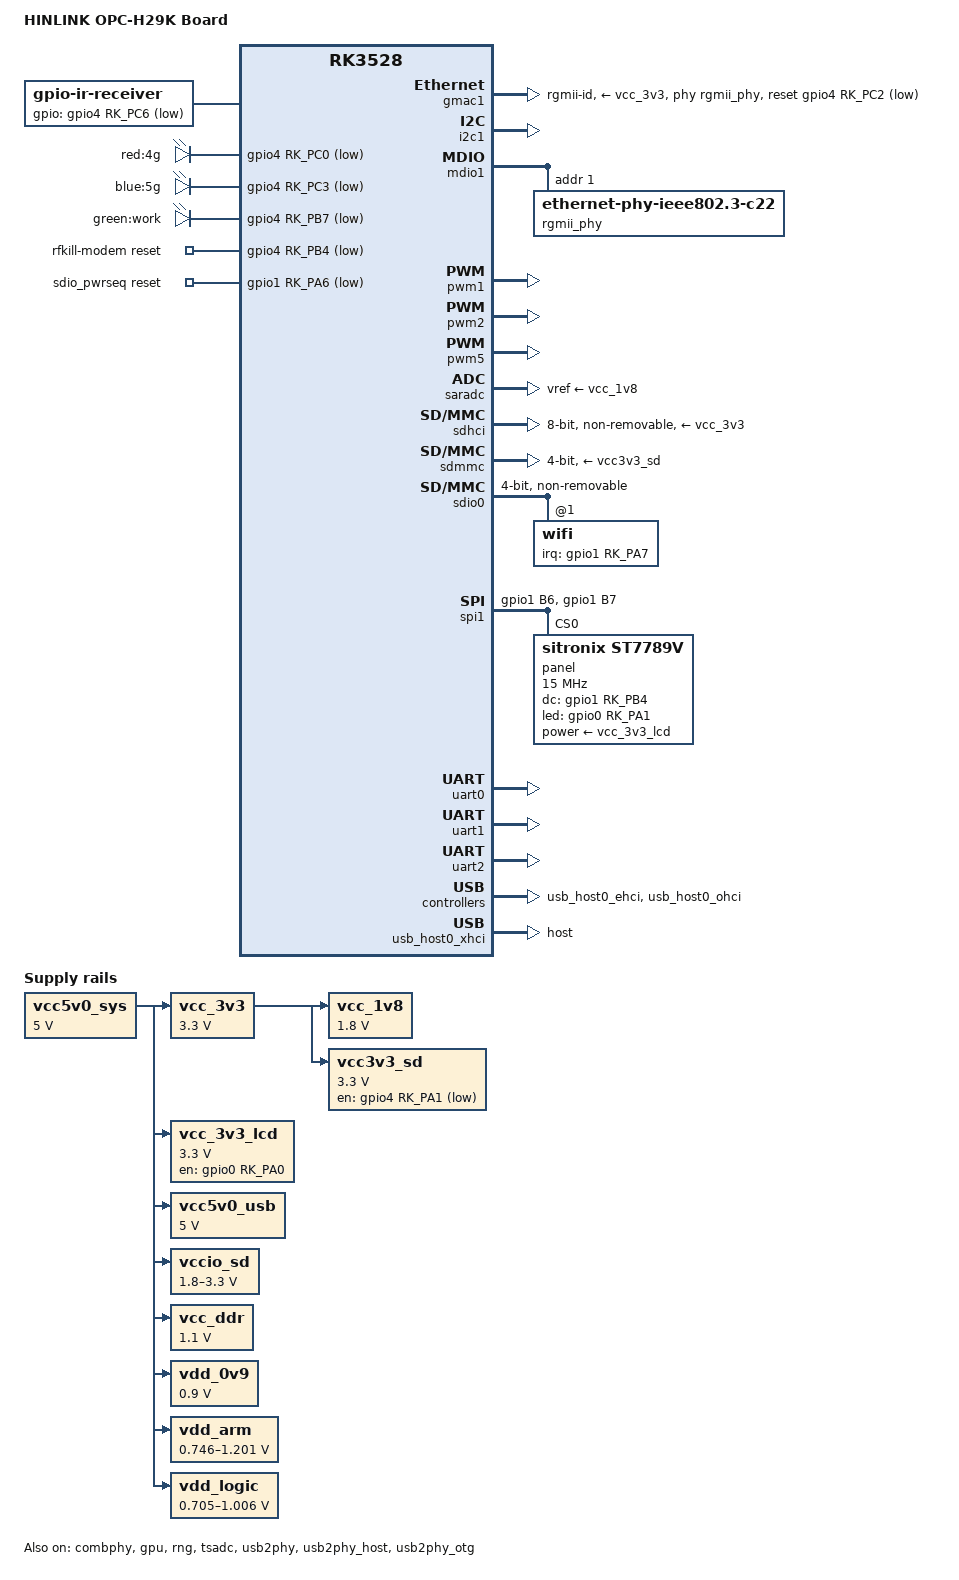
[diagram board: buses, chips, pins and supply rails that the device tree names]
// SPDX-License-Identifier: (GPL-2.0+ OR MIT)

/dts-v1/;
#include <dt-bindings/gpio/gpio.h>
#include <dt-bindings/pinctrl/rockchip.h>

#include "rk3528.dtsi"

/ {
	model = "HINLINK OPC-H29K Board";
	compatible = "hinlink,opc-h29k", "rockchip,rk3528";

	aliases {
		mmc0 = &sdhci;
		mmc1 = &sdmmc;
		mmc2 = &sdio0;
		serial0 = &uart0;
		serial1 = &uart1;
		serial2 = &uart2;
		ethernet0 = &gmac1;

		led-boot = &led_work;
		led-failsafe = &led_work;
		led-running = &led_work;
		led-upgrade = &led_work;
	};

	chosen {
		stdout-path = "serial0:1500000n8";
	};

	ir-receiver {
		compatible = "gpio-ir-receiver";
		gpios = <&gpio4 RK_PC6 GPIO_ACTIVE_LOW>;
		pinctrl-names = "default";
		pinctrl-0 = <&ir_int_pin>;
	};

	leds {
		compatible = "gpio-leds";
		pinctrl-names = "default";
		pinctrl-0 = <&led_4g_en>, <&led_5g_en>, <&led_work_en>;

		4g {
			label = "red:4g";
			gpios = <&gpio4 RK_PC0 GPIO_ACTIVE_LOW>;
		};

		5g {
			label = "blue:5g";
			gpios = <&gpio4 RK_PC3 GPIO_ACTIVE_LOW>;
		};

		led_work: work {
			label = "green:work";
			gpios = <&gpio4 RK_PB7 GPIO_ACTIVE_LOW>;
		};
	};

	rfkill-modem {
		compatible = "rfkill-gpio";
		label = "rfkill-modem";
		radio-type = "wwan";
		reset-gpios = <&gpio4 RK_PB4 GPIO_ACTIVE_LOW>;
	};

	sdio_pwrseq: sdio-pwrseq {
		compatible = "mmc-pwrseq-simple";
		pinctrl-names = "default";
		pinctrl-0 = <&wifi_reg_on>;
		post-power-on-delay-ms = <100>;
		power-off-delay-us = <5000000>;
		reset-gpios = <&gpio1 RK_PA6 GPIO_ACTIVE_LOW>;
	};

	vcc5v0_sys: vcc5v0-sys {
		compatible = "regulator-fixed";
		regulator-name = "vcc5v0_sys";
		regulator-always-on;
		regulator-boot-on;
		regulator-min-microvolt = <5000000>;
		regulator-max-microvolt = <5000000>;
	};

	vcc_3v3: vcc-3v3 {
		compatible = "regulator-fixed";
		regulator-name = "vcc_3v3";
		regulator-always-on;
		regulator-boot-on;
		regulator-min-microvolt = <3300000>;
		regulator-max-microvolt = <3300000>;
		vin-supply = <&vcc5v0_sys>;
	};

	vcc_1v8: vcc-1v8 {
		compatible = "regulator-fixed";
		regulator-name = "vcc_1v8";
		regulator-always-on;
		regulator-boot-on;
		regulator-min-microvolt = <1800000>;
		regulator-max-microvolt = <1800000>;
		vin-supply = <&vcc_3v3>;
	};

	vcc_3v3_lcd: vcc-3v3-lcd {
		compatible = "regulator-fixed";
		enable-active-high;
		gpio = <&gpio0 RK_PA0 GPIO_ACTIVE_HIGH>;
		regulator-name = "vcc_3v3_lcd";
		regulator-min-microvolt = <3300000>;
		regulator-max-microvolt = <3300000>;
		regulator-always-on;
		vin-supply = <&vcc5v0_sys>;
	};

	vcc3v3_sd: vcc3v3-sd {
		compatible = "regulator-fixed";
		gpios = <&gpio4 RK_PA1 GPIO_ACTIVE_LOW>;
		pinctrl-names = "default";
		pinctrl-0 = <&sdmmc_pwren_l>;
		regulator-name = "vcc3v3_sd";
		regulator-min-microvolt = <3300000>;
		regulator-max-microvolt = <3300000>;
		vin-supply = <&vcc_3v3>;
	};

	vcc5v0_usb: vcc5v0-usb {
		compatible = "regulator-fixed";
		regulator-name = "vcc5v0_usb";
		regulator-always-on;
		regulator-boot-on;
		regulator-min-microvolt = <5000000>;
		regulator-max-microvolt = <5000000>;
		vin-supply = <&vcc5v0_sys>;
	};

	vccio_sd: vccio-sd {
		compatible = "regulator-gpio";
		gpios = <&gpio4 RK_PB6 GPIO_ACTIVE_HIGH>;
		pinctrl-names = "default";
		pinctrl-0 = <&sdmmc_vol_ctrl_h>;
		regulator-name = "vccio_sd";
		regulator-min-microvolt = <1800000>;
		regulator-max-microvolt = <3300000>;
		states = <1800000 0x0>, <3300000 0x1>;
		vin-supply = <&vcc5v0_sys>;
	};

	vcc_ddr: vcc-ddr {
		compatible = "regulator-fixed";
		regulator-name = "vcc_ddr";
		regulator-always-on;
		regulator-boot-on;
		regulator-min-microvolt = <1100000>;
		regulator-max-microvolt = <1100000>;
		vin-supply = <&vcc5v0_sys>;
	};

	vdd_0v9: vdd-0v9 {
		compatible = "regulator-fixed";
		regulator-name = "vdd_0v9";
		regulator-always-on;
		regulator-boot-on;
		regulator-min-microvolt = <900000>;
		regulator-max-microvolt = <900000>;
		vin-supply = <&vcc5v0_sys>;
	};

	vdd_arm: vdd-arm {
		compatible = "pwm-regulator";
		pwms = <&pwm1 0 5000 1>;
		pwm-supply = <&vcc5v0_sys>;
		regulator-name = "vdd_arm";
		regulator-always-on;
		regulator-boot-on;
		regulator-min-microvolt = <746000>;
		regulator-max-microvolt = <1201000>;
		regulator-settling-time-up-us = <250>;
	};

	vdd_logic: vdd-logic {
		compatible = "pwm-regulator";
		pwms = <&pwm2 0 5000 1>;
		pwm-supply = <&vcc5v0_sys>;
		regulator-name = "vdd_logic";
		regulator-always-on;
		regulator-boot-on;
		regulator-min-microvolt = <705000>;
		regulator-max-microvolt = <1006000>;
		regulator-settling-time-up-us = <250>;
	};
};

&combphy {
	status = "okay";
};

&cpu0 {
	cpu-supply = <&vdd_arm>;
};

&cpu1 {
	cpu-supply = <&vdd_arm>;
};

&cpu2 {
	cpu-supply = <&vdd_arm>;
};

&cpu3 {
	cpu-supply = <&vdd_arm>;
};

&gmac1 {
	clock_in_out = "output";
	phy-handle = <&rgmii_phy>;
	phy-mode = "rgmii-id";
	phy-supply = <&vcc_3v3>;
	pinctrl-names = "default";
	pinctrl-0 = <&rgmii_miim
		     &rgmii_tx_bus2
		     &rgmii_rx_bus2
		     &rgmii_rgmii_clk
		     &rgmii_rgmii_bus>;
	snps,reset-active-low;
	snps,reset-delays-us = <0 20000 100000>;
	snps,reset-gpio = <&gpio4 RK_PC2 GPIO_ACTIVE_LOW>;
	status = "okay";
};

&gpu {
	mali-supply = <&vdd_logic>;
	status = "okay";
};

&i2c1 {
	status = "okay";
};

&mdio1 {
	rgmii_phy: phy@1 {
		compatible = "ethernet-phy-ieee802.3-c22";
		reg = <0x1>;
	};
};

&pinctrl {
	ir {
		ir_int_pin: ir-int-pin {
			rockchip,pins = <4 RK_PC6 RK_FUNC_GPIO &pcfg_pull_up>;
		};
	};

	leds {
		led_4g_en: led-4g-en {
			rockchip,pins = <4 RK_PC0 RK_FUNC_GPIO &pcfg_pull_none>;
		};

		led_5g_en: led-5g-en {
			rockchip,pins = <4 RK_PC3 RK_FUNC_GPIO &pcfg_pull_none>;
		};

		led_work_en: led-work-en {
			rockchip,pins = <4 RK_PB7 RK_FUNC_GPIO &pcfg_pull_none>;
		};
	};

	mmc {
		sdmmc_pwren_l: sdmmc-pwren-l {
			rockchip,pins = <4 RK_PA1 RK_FUNC_GPIO &pcfg_pull_none>;
		};

		sdmmc_vol_ctrl_h: sdmmc-vol-ctrl-h {
			rockchip,pins = <4 RK_PB6 RK_FUNC_GPIO &pcfg_pull_none>;
		};
	};

	spi1 {
		spi1_pins: spi1-pins {
			rockchip,pins =
				<1 RK_PB6 2 &pcfg_pull_none_drv_level_2>,
				<1 RK_PB7 2 &pcfg_pull_none_drv_level_2>;
		};

		lcd_rs_pin: lcd-rs-pin {
			rockchip,pins = <1 RK_PB4 RK_FUNC_GPIO &pcfg_pull_up>;
		};
	};

	wifi {
		wifi_reg_on: wifi-reg-on {
			rockchip,pins = <1 RK_PA6 RK_FUNC_GPIO &pcfg_pull_none>;
		};

		wl_wake_host: wl-wake-host {
			rockchip,pins = <1 RK_PA7 RK_FUNC_GPIO &pcfg_pull_down>;
		};
	};
};

&pwm1 {
	pinctrl-names = "default";
	pinctrl-0 = <&pwm1m0_pins>;
	status = "okay";
};

&pwm2 {
	pinctrl-names = "default";
	pinctrl-0 = <&pwm2m0_pins>;
	status = "okay";
};

&pwm5 {
	pinctrl-names = "default";
	pinctrl-0 = <&pwm5m1_pins>;
	status = "okay";
};

&rng {
	status = "okay";
};

&saradc {
	vref-supply = <&vcc_1v8>;
	status = "okay";
};

&sdhci {
	bus-width = <8>;
	cap-mmc-highspeed;
	mmc-hs200-1_8v;
	non-removable;
	vmmc-supply = <&vcc_3v3>;
	vqmmc-supply = <&vcc_1v8>;
	status = "okay";
};

&sdmmc {
	bus-width = <4>;
	cap-sd-highspeed;
	disable-wp;
	sd-uhs-sdr104;
	vmmc-supply = <&vcc3v3_sd>;
	vqmmc-supply = <&vccio_sd>;
	status = "okay";
};

&sdio0 {
	#address-cells = <1>;
	#size-cells = <0>;
	bus-width = <4>;
	cap-sd-highspeed;
	cap-sdio-irq;
	keep-power-in-suspend;
	mmc-pwrseq = <&sdio_pwrseq>;
	non-removable;
	sd-uhs-sdr104;
	status = "okay";

	wifi@1 {
		reg = <1>;
		interrupt-parent = <&gpio1>;
		interrupts = <RK_PA7 IRQ_TYPE_LEVEL_HIGH>;
		interrupt-names = "host-wake";
		pinctrl-names = "default";
		pinctrl-0 = <&wl_wake_host>;
	};
};

&spi1 {
	pinctrl-names = "default";
	pinctrl-0 = <&spi1_pins>;
	status = "okay";

	panel@0 {
		compatible = "sitronix,st7789v";
		reg = <0>;
		buswidth = <8>;
		pinctrl-names = "default";
		pinctrl-0 = <&lcd_rs_pin>;
		dc-gpios = <&gpio1 RK_PB4 GPIO_ACTIVE_HIGH>;
		led-gpios = <&gpio0 RK_PA1 GPIO_ACTIVE_HIGH>;
		spi-max-frequency = <15000000>;
		power-supply = <&vcc_3v3_lcd>;
	};
};

&tsadc {
	status = "okay";
};

&uart0 {
	pinctrl-names = "default";
	pinctrl-0 = <&uart0m0_xfer>;
	status = "okay";
};

&uart1 {
	pinctrl-names = "default";
	pinctrl-0 = <&uart1m0_xfer>;
	status = "okay";
};

&uart2 {
	pinctrl-names = "default";
	pinctrl-0 = <&uart2m1_ctsn &uart2m1_xfer>;
	status = "okay";
};

&usb2phy {
	status = "okay";
};

&usb2phy_host {
	phy-supply = <&vcc5v0_usb>;
	status = "okay";
};

&usb2phy_otg {
	phy-supply = <&vcc5v0_usb>;
	status = "okay";
};

&usb_host0_ehci {
	status = "okay";
};

&usb_host0_ohci {
	status = "okay";
};

&usb_host0_xhci {
	dr_mode = "host";
	status = "okay";
};
